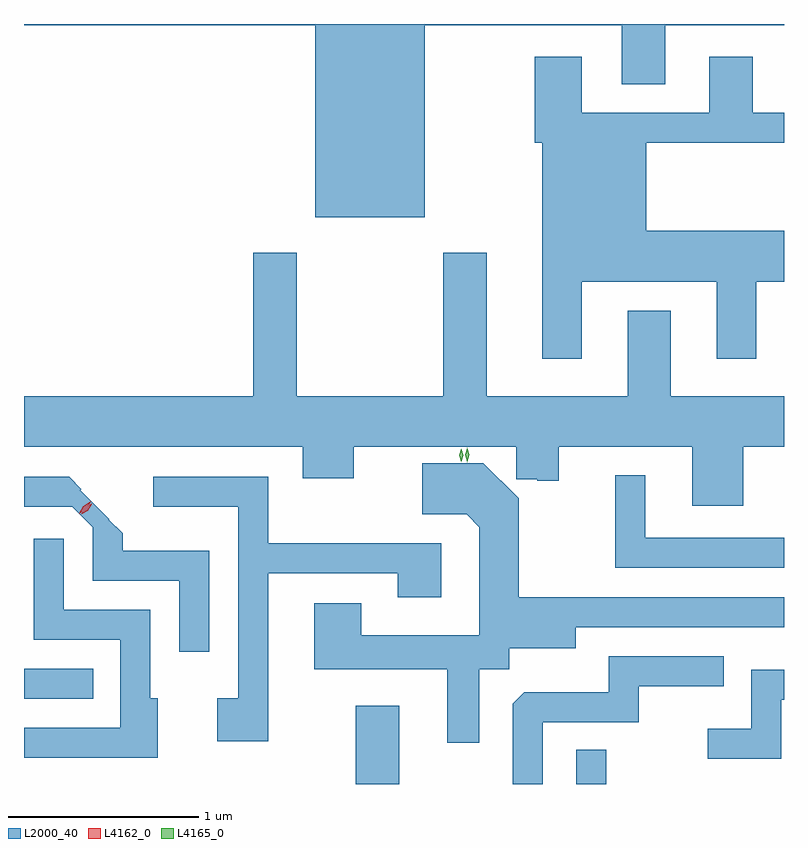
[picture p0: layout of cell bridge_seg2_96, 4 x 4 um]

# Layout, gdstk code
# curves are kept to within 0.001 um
import gdstk
lib = gdstk.Library(unit=1e-6, precision=1e-09)
def R(c, l, rs):  # rectangles x0, y0, x1, y1
    for r in rs: c.add(gdstk.rectangle(r[:2], r[2:], *l))
def P(c, l, *ps):  # polygons
    for p in ps: c.add(gdstk.Polygon(p, *l))
L2000_40 = (2000, 40)
L4162_0 = (4162, 0)
L4165_0 = (4165, 0)

bridge_seg2_96 = lib.new_cell('bridge_seg2_96')
R(bridge_seg2_96, L2000_40, [(1248.901,993.262,1249.129,993.674), (1250.061,993.262,1250.219,993.443), (1247.154,993.711,1247.518,993.869)])
P(bridge_seg2_96, L2000_40, [(1249.264,997.256),(1250.301,997.256),(1250.301,996.946),(1250.529,996.946),(1250.529,997.256),(1251.154,997.256),(1251.154,997.262),(1247.154,997.262),(1247.154,997.256),(1248.686,997.256),(1248.686,996.246),(1249.264,996.246)],
  [(1250.089,995.906),(1250.801,995.906),(1250.801,995.501),(1251.009,995.501),(1251.009,995.906),(1251.154,995.906),(1251.154,996.174),(1250.429,996.174),(1250.429,996.636),(1251.154,996.636),(1251.154,996.794),(1250.989,996.794),(1250.989,997.089),(1250.761,997.089),(1250.761,996.794),(1250.089,996.794),(1250.089,997.089),(1249.841,997.089),(1249.841,996.636),(1249.881,996.636),(1249.881,995.501),(1250.089,995.501)],
  [(1250.939,995.036),(1251.154,995.036),(1251.154,995.304),(1250.559,995.304),(1250.559,995.754),(1250.331,995.754),(1250.331,995.304),(1249.589,995.304),(1249.589,996.059),(1249.361,996.059),(1249.361,995.304),(1248.589,995.304),(1248.589,996.059),(1248.361,996.059),(1248.361,995.304),(1247.154,995.304),(1247.154,995.036),(1248.621,995.036),(1248.621,994.871),(1248.889,994.871),(1248.889,995.036),(1249.745,995.036),(1249.745,994.865),(1249.855,994.865),(1249.855,994.858),(1249.969,994.858),(1249.969,995.036),(1250.671,995.036),(1250.671,994.726),(1250.939,994.726)],
  [(1249.549,993.866),(1249.709,993.866),(1249.709,993.976),(1250.059,993.976),(1250.059,994.086),(1251.154,994.086),(1251.154,994.244),(1249.759,994.244),(1249.759,994.765),(1249.667,994.858),(1249.665,994.856),(1249.57,994.95),(1249.251,994.95),(1249.251,994.681),(1249.484,994.681),(1249.551,994.614),(1249.551,994.044),(1248.929,994.044),(1248.929,994.214),(1248.681,994.214),(1248.681,993.866),(1249.381,993.866),(1249.381,993.478),(1249.549,993.478)],
  [(1251.154,994.559),(1250.424,994.559),(1250.424,994.888),(1250.266,994.888),(1250.266,994.401),(1251.154,994.401)],
  [(1248.129,994.489),(1247.674,994.489),(1247.674,994.581),(1247.45,994.807),(1247.456,994.814),(1247.391,994.879),(1247.154,994.879),(1247.154,994.721),(1247.408,994.722),(1247.517,994.613),(1247.516,994.331),(1247.971,994.331),(1247.971,993.958),(1248.129,993.958)],
  [(1248.439,994.371),(1249.121,994.371),(1249.121,994.246),(1249.349,994.246),(1249.349,994.529),(1248.439,994.529),(1248.439,994.879),(1247.833,994.879),(1247.833,994.721),(1248.281,994.721),(1248.281,993.714),(1248.171,993.714),(1248.171,993.486),(1248.439,993.486)],
  [(1247.859,993.714),(1247.819,993.714),(1247.819,994.179),(1247.364,994.179),(1247.364,994.553),(1247.206,994.553),(1247.206,994.021),(1247.661,994.021),(1247.661,993.559),(1247.154,993.559),(1247.154,993.401),(1247.859,993.401)],
  [(1249.884,993.586),(1250.389,993.586),(1250.389,993.776),(1250.838,993.776),(1250.838,993.934),(1250.231,993.934),(1250.231,993.744),(1249.787,993.744),(1249.726,993.684),(1249.726,993.262),(1249.884,993.262)],
  [(1251.139,993.706),(1251.154,993.706),(1251.154,993.864),(1250.981,993.864),(1250.981,993.554),(1250.753,993.554),(1250.753,993.396),(1251.139,993.396)])
P(bridge_seg2_96, L4162_0, [(1247.456,994.681),(1247.456,994.682),(1247.476,994.715),(1247.509,994.736),(1247.51,994.736),(1247.51,994.735),(1247.49,994.701),(1247.456,994.681)],
  [(1247.444,994.685),(1247.444,994.686),(1247.467,994.724),(1247.505,994.749),(1247.505,994.749),(1247.505,994.748),(1247.482,994.71),(1247.444,994.685)])
P(bridge_seg2_96, L4165_0, [(1249.487,994.956),(1249.487,994.957),(1249.477,994.994),(1249.486,995.03),(1249.487,995.031),(1249.487,995.03),(1249.497,994.994),(1249.488,994.957)],
  [(1249.456,994.958),(1249.455,994.959),(1249.446,994.993),(1249.455,995.026),(1249.456,995.027),(1249.456,995.026),(1249.465,994.993),(1249.456,994.959)])

lib.write_gds('bridge_seg2_96.gds')
